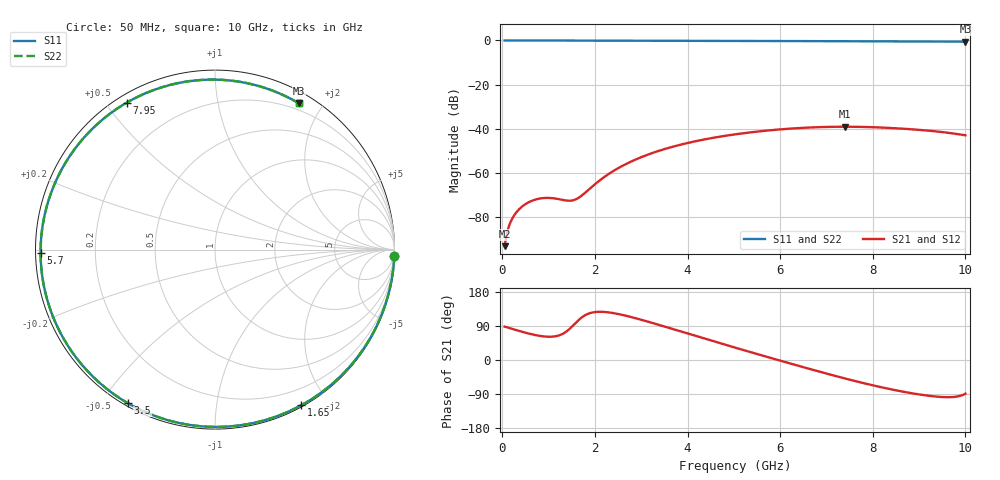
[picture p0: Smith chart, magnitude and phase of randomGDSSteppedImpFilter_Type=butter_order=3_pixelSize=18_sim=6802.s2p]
! freq	dB(S11)	phase(S11)	dB(S12)	phase(S12)
!  dB(S21)	phase(S21)	dB(S22)	phase(S22)
!S-par simulation data
#  GHz  S  DB  R 50
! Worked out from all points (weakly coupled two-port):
!   200 points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, 50 MHz to 10 GHz, reference 50 ohm
!   highest |S21| = -39.11 dB at 7.4 GHz (marker M1); lowest = -93.3 dB at 50 MHz (marker M2)
!   lowest |S11| = -0.5 dB at 10 GHz (marker M3), VSWR 31.96, Z = 6.22 + j86.1 ohm
!   |S11| at or under -10 dB: nowhere
!   |S22| runs from -0.5 to 0.0 dB; largest |S21 - S12| = 0
!   S11 on the Smith chart (normalised r, x): 50 MHz: 0, -59; 1.65 GHz: 0.02, -1.70; 3.5 GHz: 0.01, -0.58; 5.7 GHz: 0.01, -0.01; 7.95 GHz: 0.03, +0.57; 10 GHz: 0.12, +1.72
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0.05  -0.00 -1.9  -93.26 88.2  -93.26 88.2  -0.00 -1.9
0.25  -0.01 -9.6  -79.50 80.7  -79.50 80.7  -0.01 -9.6
0.45  -0.02 -17.2  -74.92 73.7  -74.92 73.7  -0.02 -17.1
0.75  -0.04 -28.4  -71.93 64.9  -71.93 64.9  -0.04 -28.4
1  -0.05 -37.7  -71.38 61.3  -71.38 61.3  -0.05 -37.7
1.45  -0.07 -53.9  -72.66 81.7  -72.66 81.7  -0.07 -53.9
1.65  -0.07 -60.9  -71.30 105.6  -71.30 105.6  -0.07 -60.9
1.75  -0.08 -64.4  -69.74 115.3  -69.74 115.3  -0.08 -64.4
2.15  -0.09 -77.9  -62.71 127.2  -62.71 127.2  -0.09 -77.8
2.5  -0.10 -89.2  -57.93 121.4  -57.93 121.4  -0.10 -89.2
2.9  -0.12 -101.7  -53.79 109.6  -53.79 109.6  -0.12 -101.7
3.4  -0.14 -116.6  -49.91 92.1  -49.91 92.1  -0.14 -116.5
3.5  -0.14 -119.5  -49.26 88.4  -49.26 88.4  -0.14 -119.4
4.3  -0.17 -141.8  -45.13 59.0  -45.13 59.0  -0.17 -141.8
5.05  -0.21 -161.8  -42.50 31.8  -42.50 31.8  -0.21 -161.8
5.7  -0.25 -178.8  -40.88 8.8  -40.88 8.8  -0.25 -178.8
6.7  -0.31 155.0  -39.41 -25.7  -39.41 -25.7  -0.31 155.1
7.4  -0.36 136.2  -39.11 -48.8  -39.11 -48.8  -0.36 136.2
7.95  -0.40 121.0  -39.30 -65.4  -39.30 -65.4  -0.40 121.0
8.35  -0.43 109.6  -39.64 -76.2  -39.64 -76.2  -0.43 109.6
9.2  -0.48 84.5  -40.89 -94.3  -40.89 -94.3  -0.48 84.5
10  -0.54 60.1  -42.98 -88.9  -42.98 -88.9  -0.54 60.1
